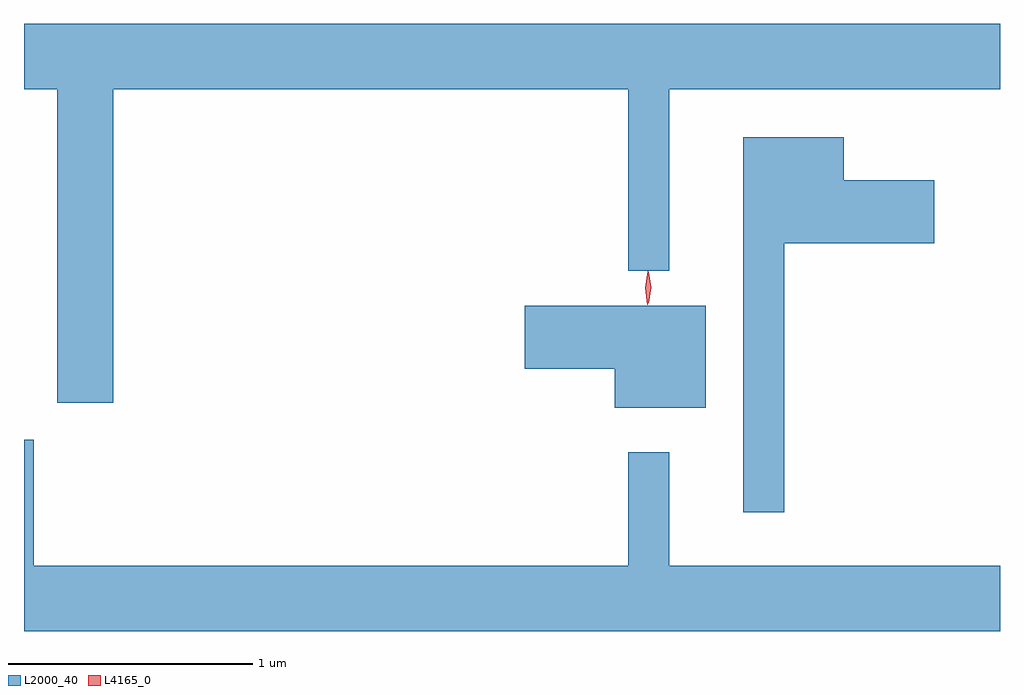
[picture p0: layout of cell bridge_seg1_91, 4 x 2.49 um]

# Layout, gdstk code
import gdstk
lib = gdstk.Library(unit=1e-6, precision=1e-09)
def P(c, l, *ps):  # polygons
    for p in ps: c.add(gdstk.Polygon(p, *l))
L2000_40 = (2000, 40)
L4165_0 = (4165, 0)

bridge_seg1_91 = lib.new_cell('bridge_seg1_91')
P(bridge_seg1_91, L2000_40, [(1228.519,875.156),(1230.631,875.156),(1230.631,874.413),(1230.799,874.413),(1230.799,875.156),(1232.154,875.156),(1232.154,875.424),(1228.154,875.424),(1228.154,875.156),(1228.291,875.156),(1228.291,873.871),(1228.519,873.871)],
  [(1231.269,874.526),(1231.884,874.526),(1231.884,874.784),(1231.514,874.784),(1231.514,874.959),(1231.101,874.959),(1231.101,873.423),(1231.269,873.423)],
  [(1230.949,874.269),(1230.206,874.269),(1230.206,874.011),(1230.576,874.011),(1230.576,873.851),(1230.949,873.851)],
  [(1232.154,873.204),(1230.799,873.204),(1230.799,873.668),(1230.631,873.668),(1230.631,873.204),(1228.194,873.204),(1228.194,873.719),(1228.154,873.719),(1228.154,872.936),(1232.154,872.936)])
P(bridge_seg1_91, L4165_0, [(1230.709,874.274),(1230.701,874.342),(1230.711,874.41),(1230.712,874.41),(1230.712,874.41),(1230.72,874.342),(1230.71,874.274),(1230.71,874.274)],
  [(1230.714,874.28),(1230.705,874.344),(1230.714,874.406),(1230.715,874.407),(1230.715,874.406),(1230.725,874.344),(1230.715,874.28),(1230.715,874.28)])

lib.write_gds('bridge_seg1_91.gds')
